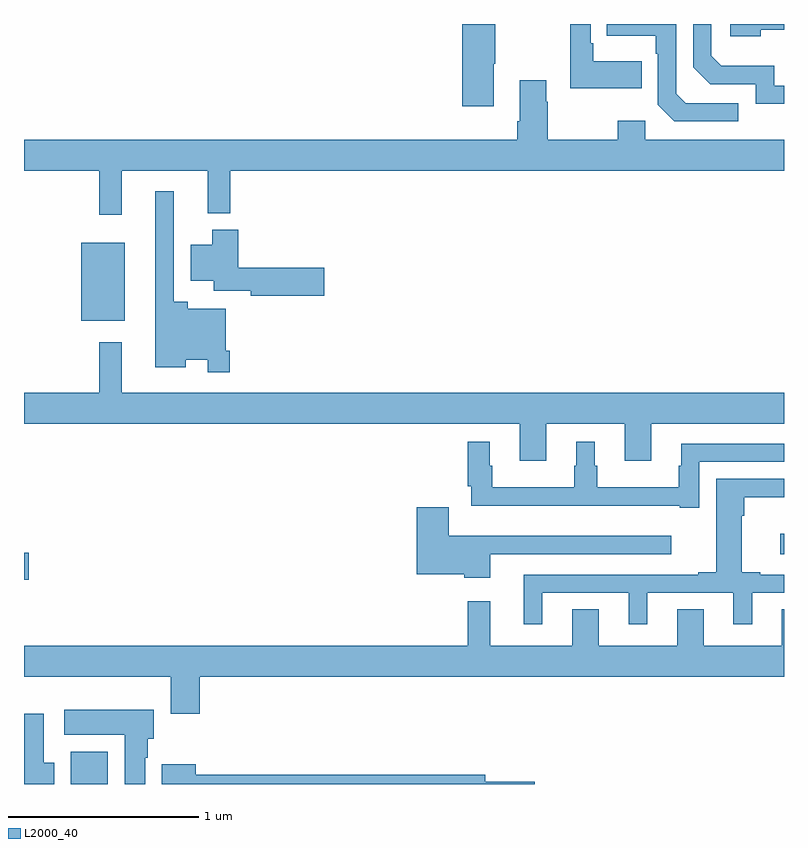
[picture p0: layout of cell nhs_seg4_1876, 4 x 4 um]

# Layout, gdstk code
import gdstk
lib = gdstk.Library(unit=1e-6, precision=1e-09)
def R(c, l, rs):  # rectangles x0, y0, x1, y1
    for r in rs: c.add(gdstk.rectangle(r[:2], r[2:], *l))
def P(c, l, *ps):  # polygons
    for p in ps: c.add(gdstk.Polygon(p, *l))
L2000_40 = (2000, 40)

nhs_seg4_1876 = lib.new_cell('nhs_seg4_1876')
R(nhs_seg4_1876, L2000_40, [(207.245,818.9,207.442,819.07), (207,819.976,207.025,820.118), (210.981,820.109,211,820.216), (207.302,821.339,207.529,821.749)])
P(nhs_seg4_1876, L2000_40, [(210.76,822.483),(210.483,822.483),(210.432,822.534),(210.432,822.9),(210.067,822.9),(210.067,822.839),(210.324,822.839),(210.324,822.743),(210.336,822.743),(210.336,822.474),(210.423,822.387),(210.76,822.387)],
  [(210.878,822.87),(211,822.87),(211,822.9),(210.717,822.9),(210.717,822.836),(210.878,822.836)],
  [(209.473,822.691),(209.481,822.691),(209.481,822.9),(209.306,822.9),(209.306,822.468),(209.473,822.468)],
  [(210.251,822.703),(209.995,822.703),(209.995,822.799),(209.982,822.799),(209.982,822.9),(209.874,822.9),(209.874,822.563),(210.251,822.563)],
  [(211,822.576),(210.948,822.576),(210.948,822.679),(210.671,822.679),(210.618,822.732),(210.618,822.9),(210.522,822.9),(210.522,822.672),(210.612,822.582),(210.852,822.582),(210.852,822.48),(211,822.48)],
  [(207.515,822.128),(207.968,822.128),(207.968,821.903),(208.085,821.903),(208.085,822.128),(211,822.128),(211,822.292),(210.27,822.292),(210.27,822.391),(210.124,822.391),(210.124,822.292),(209.757,822.292),(209.757,822.491),(209.749,822.491),(209.749,822.604),(209.609,822.604),(209.609,822.388),(209.597,822.388),(209.597,822.292),(207,822.292),(207,822.128),(207.397,822.128),(207.397,821.895),(207.515,821.895)],
  [(208.082,821.179),(208.062,821.179),(208.062,821.401),(207.863,821.401),(207.863,821.437),(207.789,821.437),(207.789,822.019),(207.692,822.019),(207.692,821.093),(207.85,821.093),(207.85,821.132),(207.966,821.132),(207.966,821.067),(208.082,821.067)],
  [(208.579,821.618),(208.127,821.618),(208.127,821.818),(207.992,821.818),(207.992,821.737),(207.878,821.737),(207.878,821.549),(207.998,821.549),(207.998,821.495),(208.194,821.495),(208.194,821.471),(208.579,821.471)],
  [(209.749,820.796),(210.161,820.796),(210.161,820.602),(210.301,820.602),(210.301,820.796),(211,820.796),(211,820.96),(207.514,820.96),(207.514,821.224),(207.397,821.224),(207.397,820.96),(207,820.96),(207,820.796),(209.609,820.796),(209.609,820.602),(209.749,820.602)],
  [(210.555,820.596),(211,820.596),(211,820.692),(210.458,820.692),(210.458,820.574),(210.447,820.574),(210.447,820.462),(210.016,820.462),(210.016,820.574),(210.004,820.574),(210.004,820.702),(209.906,820.702),(209.906,820.574),(209.895,820.574),(209.895,820.462),(209.464,820.462),(209.464,820.574),(209.452,820.574),(209.452,820.702),(209.335,820.702),(209.335,820.468),(209.355,820.468),(209.355,820.364),(210.452,820.364),(210.452,820.353),(210.555,820.353)],
  [(209.728,819.906),(210.182,819.906),(210.182,819.741),(210.28,819.741),(210.28,819.906),(210.734,819.906),(210.734,819.741),(210.832,819.741),(210.832,819.906),(211,819.906),(211,820.002),(210.874,820.002),(210.874,820.015),(210.778,820.015),(210.778,820.313),(210.791,820.313),(210.791,820.409),(211,820.409),(211,820.506),(210.644,820.506),(210.644,820.015),(210.548,820.015),(210.548,820.002),(209.63,820.002),(209.63,819.741),(209.728,819.741)],
  [(209.455,820.11),(210.406,820.11),(210.406,820.207),(209.236,820.207),(209.236,820.357),(209.066,820.357),(209.066,820.004),(209.316,820.004),(209.316,819.986),(209.455,819.986)],
  [(207.926,819.464),(211,819.464),(211,819.821),(210.989,819.821),(210.989,819.628),(210.577,819.628),(210.577,819.821),(210.437,819.821),(210.437,819.628),(210.025,819.628),(210.025,819.821),(209.885,819.821),(209.885,819.628),(209.453,819.628),(209.453,819.862),(209.335,819.862),(209.335,819.628),(207,819.628),(207,819.464),(207.773,819.464),(207.773,819.27),(207.926,819.27)],
  [(207.637,819.038),(207.652,819.038),(207.652,819.138),(207.682,819.138),(207.682,819.292),(207.213,819.292),(207.213,819.158),(207.53,819.158),(207.53,818.9),(207.637,818.9)],
  [(207.16,819.012),(207.103,819.012),(207.103,819.271),(207,819.271),(207,818.9),(207.16,818.9)],
  [(209.689,818.912),(209.428,818.912),(209.428,818.948),(207.904,818.948),(207.904,819.004),(207.725,819.004),(207.725,818.9),(209.689,818.9)])

lib.write_gds('nhs_seg4_1876.gds')
